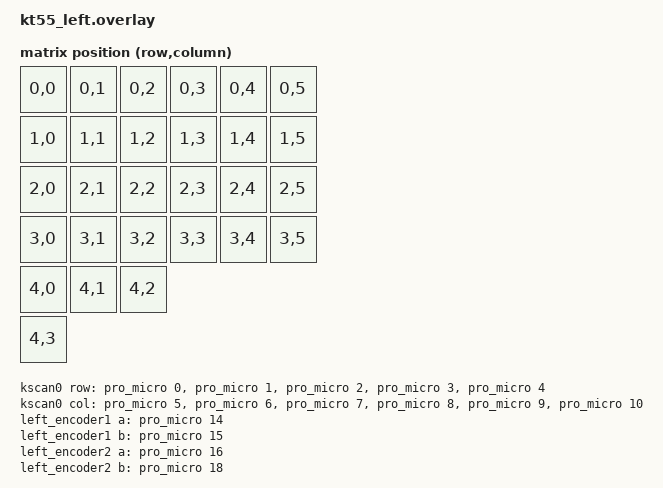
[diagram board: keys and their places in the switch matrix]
/*
 * KT55 Left half
 * - 6 columns x 5 rows (matrix), bottom row only uses columns 0-2 (3 keys)
 * - diode direction: col2row
 * - 2 rotary encoders (encoder1: with push switch, encoder2: without)
 *
 * NOTE: GPIO pin numbers below are PLACEHOLDERS using the Arduino
 * Pro Micro pin numbering that nice_nano follows (digital pins 0-15).
 * Please edit row-gpios / col-gpios / encoder gpios to match your
 * actual wiring before flashing.
 *
 * Pin map used here (EDIT AS NEEDED):
 *   ROW0-4 : D0, D1, D2, D3, D4
 *   COL0-5 : D5, D6, D7, D8, D9, D10
 *   Encoder1 A/B : D14, D15
 *   Encoder2 A/B : D16, D18
 *
 * NOTE: the nice_nano's &pro_micro interconnect does NOT expose D11,
 * D12, D13, or D17 (these simply don't exist on the Pro Micro
 * footprint), so referencing them causes a devicetree
 * "child specifier ... does not appear in gpio-map" error. The only
 * valid &pro_micro indices are: 0-10, 14, 15, 16, 18, 19, 20, 21.
 * GPIO_PULL_UP is fine to combine with GPIO_ACTIVE_HIGH on any of
 * those valid indices.
 *
 * The encoder1 push switch is wired into the otherwise-unused matrix
 * cell (row4, col3), so it behaves as a normal key in the keymap (see
 * the RC(4,3) line in the transform below). If your physical wiring
 * instead runs the switch on its own dedicated GPIO, remove the
 * RC(4,3) line below and add a separate gpio-keys node here instead,
 * picking any other free digital pin index, e.g.:
 *
 * left_encoder1_push: encoder_1_push {
 *     compatible = "gpio-keys";
 *     label = "LEFT_ENCODER_1_PUSH";
 *     gpios = <&pro_micro 21 (GPIO_ACTIVE_LOW | GPIO_PULL_UP)>;
 * };
 */

#include <dt-bindings/zmk/matrix_transform.h>
#include "kt55_left-layouts.dtsi"

/ {
    chosen {
        zmk,kscan = &kscan0;
        zmk,matrix-transform = &default_transform;
        zmk,physical-layout = &physical_layout0;
    };

    kscan0: kscan0 {
        compatible = "zmk,kscan-gpio-matrix";
        wakeup-source;
        diode-direction = "col2row";

        row-gpios
            = <&pro_micro 0 GPIO_ACTIVE_HIGH>
            , <&pro_micro 1 GPIO_ACTIVE_HIGH>
            , <&pro_micro 2 GPIO_ACTIVE_HIGH>
            , <&pro_micro 3 GPIO_ACTIVE_HIGH>
            , <&pro_micro 4 GPIO_ACTIVE_HIGH>
            ;

        col-gpios
            = <&pro_micro 5 GPIO_ACTIVE_HIGH>
            , <&pro_micro 6 GPIO_ACTIVE_HIGH>
            , <&pro_micro 7 GPIO_ACTIVE_HIGH>
            , <&pro_micro 8 GPIO_ACTIVE_HIGH>
            , <&pro_micro 9 GPIO_ACTIVE_HIGH>
            , <&pro_micro 10 GPIO_ACTIVE_HIGH>
            ;
    };

    // Logical matrix is 6 columns x 5 rows. Bottom row (row 4) only has
    // 3 physical keys wired (col0-2). col3 of row4 carries the encoder1
    // push switch (counted separately in the keymap, see comment above).
    default_transform: keymap_transform_0 {
        compatible = "zmk,matrix-transform";
        columns = <6>;
        rows = <5>;
        map = <
            RC(0,0) RC(0,1) RC(0,2) RC(0,3) RC(0,4) RC(0,5)
            RC(1,0) RC(1,1) RC(1,2) RC(1,3) RC(1,4) RC(1,5)
            RC(2,0) RC(2,1) RC(2,2) RC(2,3) RC(2,4) RC(2,5)
            RC(3,0) RC(3,1) RC(3,2) RC(3,3) RC(3,4) RC(3,5)
            RC(4,0) RC(4,1) RC(4,2)
            RC(4,3)
        >;
    };

    left_encoder1: encoder_1 {
        compatible = "alps,ec11";
        a-gpios = <&pro_micro 14 (GPIO_ACTIVE_HIGH | GPIO_PULL_UP)>;
        b-gpios = <&pro_micro 15 (GPIO_ACTIVE_HIGH | GPIO_PULL_UP)>;
        resolution = <4>;
        status = "okay";
    };

    left_encoder2: encoder_2 {
        compatible = "alps,ec11";
        a-gpios = <&pro_micro 16 (GPIO_ACTIVE_HIGH | GPIO_PULL_UP)>;
        b-gpios = <&pro_micro 18 (GPIO_ACTIVE_HIGH | GPIO_PULL_UP)>;
        resolution = <4>;
        status = "okay";
    };

    sensors {
        compatible = "zmk,keymap-sensors";
        sensors = <&left_encoder1 &left_encoder2>;
    };
};
